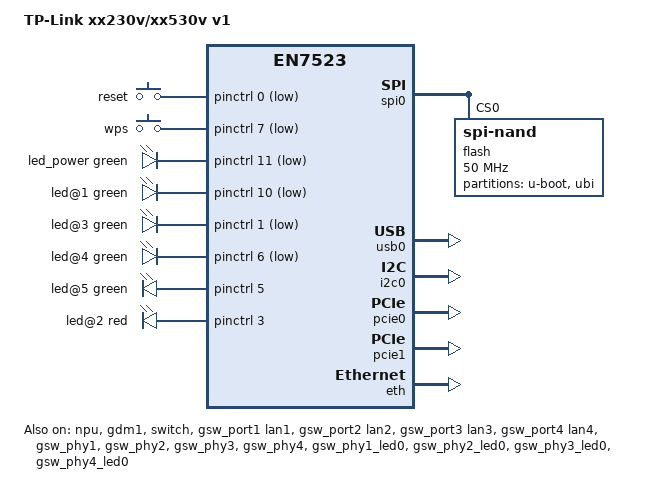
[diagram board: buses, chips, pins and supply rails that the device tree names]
// SPDX-License-Identifier: GPL-2.0-or-later OR MIT
/dts-v1/;

#include <dt-bindings/leds/common.h>
#include <dt-bindings/gpio/gpio.h>
#include <dt-bindings/input/input.h>
#include "en7523.dtsi"

/ {
	model = "TP-Link xx230v/xx530v v1";
	compatible = "tplink,xx230v-v1", "airoha,en7523";

	chosen {
		rootdisk = <&firmware>;
		bootargs = "console=ttyS0,115200 earlycon ubi.block=0,fit root=/dev/fit0 rootwait";
		stdout-path = "serial0:115200n8";
	};

	aliases {
		serial0 = &uart1;
		led-boot = &led_power;
		led-failsafe = &led_power;
		led-upgrade = &led_power;
		led-running = &led_power;
	};

	keys {
		compatible = "gpio-keys-polled";
		poll-interval = <100>;

		reset {
			label = "reset";
			linux,code = <KEY_RESTART>;
			gpios = <&pinctrl 0 GPIO_ACTIVE_LOW>;
			debounce-interval = <60>;
		};

		wps {
			label = "wps";
			linux,code = <KEY_WPS_BUTTON>;
			gpios = <&pinctrl 7 GPIO_ACTIVE_LOW>;
			debounce-interval = <60>;
		};
	};

	leds {
		compatible = "gpio-leds";

		// Power
		led_power: led@0 {
			color = <LED_COLOR_ID_GREEN>;
			function = LED_FUNCTION_STATUS;
			function-enumerator = <0>;
			gpios = <&pinctrl 11 GPIO_ACTIVE_LOW>;
		};

		// xPON
		led@1 {
			color = <LED_COLOR_ID_GREEN>;
			function = LED_FUNCTION_STATUS;
			function-enumerator = <1>;
			gpios = <&pinctrl 10 GPIO_ACTIVE_LOW>;
		};

		// internet
		led@3 {
			color = <LED_COLOR_ID_GREEN>;
			function = LED_FUNCTION_WAN_ONLINE;
			function-enumerator = <3>;
			gpios = <&pinctrl 1 GPIO_ACTIVE_LOW>;
		};

		// Wireless
		led@4 {
			color = <LED_COLOR_ID_GREEN>;
			function = LED_FUNCTION_WLAN;
			function-enumerator = <4>;
			gpios = <&pinctrl 6 GPIO_ACTIVE_LOW>;
		};

		// Phone
		led@5 {
			color = <LED_COLOR_ID_GREEN>;
			function = LED_FUNCTION_STATUS;
			function-enumerator = <5>;
			gpios = <&pinctrl 5 GPIO_ACTIVE_HIGH>;
		};

		// LOS
		led@2 {
			color = <LED_COLOR_ID_RED>;
			function = LED_FUNCTION_STATUS;
			function-enumerator = <2>;
			gpios = <&pinctrl 3 GPIO_ACTIVE_HIGH>;
		};
	};
};

/*
Old maping NAND

	0x000000000000-0x000000080000 : "boot"
	0x000000080000-0x0000000a0000 : "romfile"

 xx230v v1:
	0x0000000a0000-0x0000001a0000 : "misc" => 0x100000 (not 0x1a0000)
	0x0000001a0000-0x000002000000 : "firmware"
	0x000002000000-0x000003e60000 : "firmware_slave"
	0x000003fe0000-0x000004000000 : "reserve"

 xx530v v1:
	0x0000000a0000-0x0000002a0000 : "misc" => 0x200000
	0x0000002a0000-0x000002500000 : "firmware"
	0x000002500000-0x000004760000 : "firmware_slave"
	0x0000049e0000-0x000004a00000 : "reserve"

	---------------------------------------------------------------------

New Maping:
	0x00000000-0x00100000 : BL1 + FIP (BL2 + BL31 + BL33)
	0x00100000-           : UBI (uboot env{1,2} + ART (misc part) + fit (firmware))
*/
&spi0 {
	flash@0 {
		reg = <0>;
		compatible = "spi-nand";
		spi-max-frequency = <50000000>;
		spi-tx-bus-width = <1>;
		spi-rx-bus-width = <2>;

		partitions {
			compatible = "fixed-partitions";
			#address-cells = <1>;
			#size-cells = <1>;

			partition@0 {
				label = "u-boot";
				reg = <0x00000000 0x00100000>;
				read-only;
			};

			partition@100000 {
				label = "ubi";
				compatible = "linux,ubi";
				reg = <0x00100000 0x0>;

				volumes {
					ubi-volume-ubootenv {
						volname = "ubootenv";
						nvmem-layout {
							compatible = "u-boot,env-redundant-bool";
						};
					};

					ubi-volume-ubootenv2 {
						volname = "ubootenv2";
						nvmem-layout {
							compatible = "u-boot,env-redundant-bool";
						};
					};

					ubi-volume-art {
						volname = "art";
						read-only;

						nvmem-layout {
							compatible = "fixed-layout";
							#address-cells = <1>;
							#size-cells = <1>;

							macaddr: macaddr@4f100 {
								compatible = "mac-base";
								reg = <0x4f100 0x6>;
								#nvmem-cell-cells = <1>;
							};

							eeprom: eeprom@80000 {
								reg = <0x80000 0x1000>;
							};

							en7571_bob: en7571_bob@c0000 {
								reg = <0xc0000 0xff>;
							};
						};
					};

					firmware: ubi-volume-firmware {
						volname = "fit";
						compatible = "denx,uimage";
					};
				};
			};
		};
	};
};

&usb0 {
	status = "okay";
};

&i2c0 {
	status = "okay";
};

&pcie0 {
	status = "okay";
};

&pcie1 {
	status = "okay";

	pcie@1,0 {
		reg = <0x00000800 0 0 0 0>;
		#address-cells = <3>;
		#size-cells = <2>;

		mt7915@0,0 {
			reg = <0x0000 0 0 0 0>;
			#address-cells = <1>;
			#size-cells = <0>;
			nvmem-cells = <&eeprom>;
			nvmem-cell-names = "eeprom";
			airoha,npu = <&npu>;
			airoha,eth = <&eth>;

			// 2.4 GHz
			band@0 {
				reg = <0>;
				nvmem-cells = <&macaddr 0>;
				nvmem-cell-names = "mac-address";
			};

			// 5 GHz
			band@1 {
				reg = <1>;
				nvmem-cells = <&macaddr 2>;
				nvmem-cell-names = "mac-address";
			};
		};
	};
};

&npu {
	status = "okay";
};

&eth {
	status = "okay";
};

&gdm1 {
	status = "okay";
	nvmem-cells = <&macaddr 0>;
	nvmem-cell-names = "mac-address";
};

&switch {
	status = "okay";
};

&gsw_port1 {
	label = "lan1";
	status = "okay";
};

&gsw_port2 {
	label = "lan2";
	status = "okay";
};

&gsw_port3 {
	label = "lan3";
	status = "okay";
};

&gsw_port4 {
	label = "lan4";
	status = "okay";
};

&gsw_port6 {
	nvmem-cells = <&macaddr 0>;
	nvmem-cell-names = "mac-address";
};

&gsw_phy1 {
	status = "okay";
};

&gsw_phy2 {
	status = "okay";
};

&gsw_phy3 {
	status = "okay";
};

&gsw_phy4 {
	status = "okay";
};

&gsw_phy1_led0 {
	status = "okay";
};

&gsw_phy2_led0 {
	status = "okay";
};

&gsw_phy3_led0 {
	status = "okay";
};

&gsw_phy4_led0 {
	status = "okay";
};
